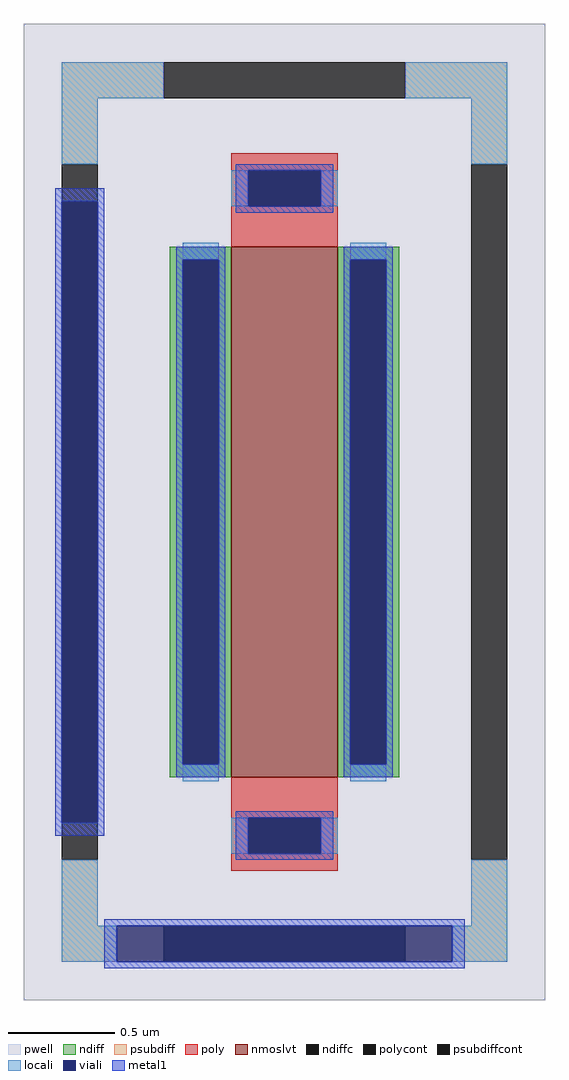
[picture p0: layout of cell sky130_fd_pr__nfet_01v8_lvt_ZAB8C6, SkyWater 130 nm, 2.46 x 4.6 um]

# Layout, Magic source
magic
tech sky130A
magscale 1 2
<< pwell >>
rect -246 -460 246 460
<< nmoslvt >>
rect -50 -250 50 250
<< ndiff >>
rect -108 238 -50 250
rect -108 -238 -96 238
rect -62 -238 -50 238
rect -108 -250 -50 -238
rect 50 238 108 250
rect 50 -238 62 238
rect 96 -238 108 238
rect 50 -250 108 -238
<< ndiffc >>
rect -96 -238 -62 238
rect 62 -238 96 238
<< psubdiff >>
rect -210 390 -114 424
rect 114 390 210 424
rect -210 328 -176 390
rect 176 328 210 390
rect -210 -390 -176 -328
rect 176 -390 210 -328
rect -210 -424 -114 -390
rect 114 -424 210 -390
<< psubdiffcont >>
rect -114 390 114 424
rect -210 -328 -176 328
rect 176 -328 210 328
rect -114 -424 114 -390
<< poly >>
rect -50 322 50 338
rect -50 288 -34 322
rect 34 288 50 322
rect -50 250 50 288
rect -50 -288 50 -250
rect -50 -322 -34 -288
rect 34 -322 50 -288
rect -50 -338 50 -322
<< polycont >>
rect -34 288 34 322
rect -34 -322 34 -288
<< locali >>
rect -210 390 -114 424
rect 114 390 210 424
rect -210 328 -176 390
rect 176 328 210 390
rect -50 288 -34 322
rect 34 288 50 322
rect -96 238 -62 254
rect -96 -254 -62 -238
rect 62 238 96 254
rect 62 -254 96 -238
rect -50 -322 -34 -288
rect 34 -322 50 -288
rect -210 -390 -176 -328
rect 176 -390 210 -328
rect -210 -424 -158 -390
rect 158 -424 210 -390
<< viali >>
rect -210 -293 -176 293
rect -34 288 34 322
rect -96 -238 -62 238
rect 62 -238 96 238
rect -34 -322 34 -288
rect -158 -424 -114 -390
rect -114 -424 114 -390
rect 114 -424 158 -390
<< metal1 >>
rect -46 322 46 328
rect -216 293 -170 305
rect -216 -293 -210 293
rect -176 -293 -170 293
rect -46 288 -34 322
rect 34 288 46 322
rect -46 282 46 288
rect -102 238 -56 250
rect -102 -238 -96 238
rect -62 -238 -56 238
rect -102 -250 -56 -238
rect 56 238 102 250
rect 56 -238 62 238
rect 96 -238 102 238
rect 56 -250 102 -238
rect -216 -305 -170 -293
rect -46 -288 46 -282
rect -46 -322 -34 -288
rect 34 -322 46 -288
rect -46 -328 46 -322
rect -170 -390 170 -384
rect -170 -424 -158 -390
rect 158 -424 170 -390
rect -170 -430 170 -424
<< properties >>
string FIXED_BBOX -193 -407 193 407
string gencell sky130_fd_pr__nfet_01v8_lvt
string library sky130
string parameters w 2.5 l 0.5 m 1 nf 1 diffcov 100 polycov 100 guard 1 glc 1 grc 1 gtc 1 gbc 1 tbcov 100 rlcov 100 topc 1 botc 1 poverlap 0 doverlap 1 lmin 0.15 wmin 0.42 compatible {sky130_fd_pr__nfet_01v8 sky130_fd_pr__nfet_01v8_lvt  sky130_fd_bs_flash__special_sonosfet_star  sky130_fd_pr__nfet_g5v0d10v5 sky130_fd_pr__nfet_05v0_nvt  sky130_fd_pr__nfet_03v3_nvt} full_metal 1 viasrc 100 viadrn 100 viagate 100 viagb 90 viagr 0 viagl 75 viagt 0
<< end >>
